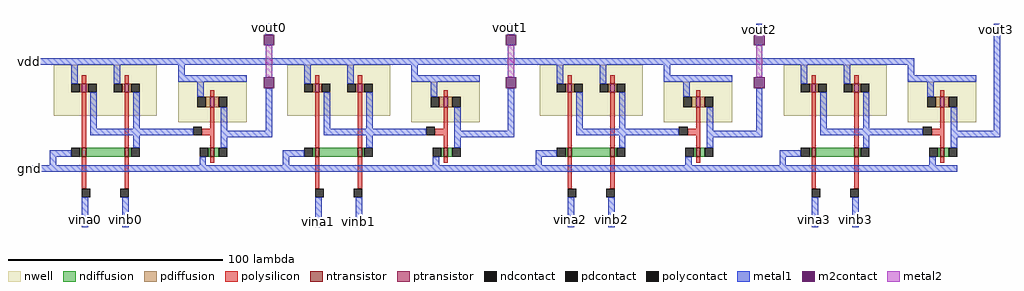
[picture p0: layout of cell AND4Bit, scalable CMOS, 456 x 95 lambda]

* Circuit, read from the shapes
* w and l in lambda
.subckt AND4Bit gnd vdd vina0 vina1 vina2 vina3 vinb0 vinb1 vinb2 vinb3 vout0 vout1 vout2 vout3
M1 n1 vina0 gnd VSUBS nfet w=4 l=2
M2 AND2IN_0/NOT_0/in vinb0 n1 VSUBS nfet w=4 l=2
M3 vout0 AND2IN_0/NOT_0/in gnd VSUBS nfet w=4 l=2
M4 n2 vina1 gnd VSUBS nfet w=4 l=2
M5 AND2IN_1/NOT_0/in vinb1 n2 VSUBS nfet w=4 l=2
M6 vout1 AND2IN_1/NOT_0/in gnd VSUBS nfet w=4 l=2
M7 n3 vina2 gnd VSUBS nfet w=4 l=2
M8 AND2IN_2/NOT_0/in vinb2 n3 VSUBS nfet w=4 l=2
M9 vout2 AND2IN_2/NOT_0/in gnd VSUBS nfet w=4 l=2
M10 n4 vina3 gnd VSUBS nfet w=4 l=2
M11 AND2IN_3/NOT_0/in vinb3 n4 VSUBS nfet w=4 l=2
M12 vout3 AND2IN_3/NOT_0/in gnd VSUBS nfet w=4 l=2
M13 AND2IN_0/NOT_0/in vina0 vdd n5 pfet w=4 l=2
M14 AND2IN_0/NOT_0/in vinb0 vdd n5 pfet w=4 l=2
M15 vout0 AND2IN_0/NOT_0/in vdd n6 pfet w=5 l=2
M16 AND2IN_1/NOT_0/in vina1 vdd n7 pfet w=4 l=2
M17 AND2IN_1/NOT_0/in vinb1 vdd n7 pfet w=4 l=2
M18 vout1 AND2IN_1/NOT_0/in vdd n8 pfet w=5 l=2
M19 AND2IN_2/NOT_0/in vina2 vdd n9 pfet w=4 l=2
M20 AND2IN_2/NOT_0/in vinb2 vdd n9 pfet w=4 l=2
M21 vout2 AND2IN_2/NOT_0/in vdd n10 pfet w=5 l=2
M22 AND2IN_3/NOT_0/in vina3 vdd n11 pfet w=4 l=2
M23 AND2IN_3/NOT_0/in vinb3 vdd n11 pfet w=4 l=2
M24 vout3 AND2IN_3/NOT_0/in vdd n12 pfet w=5 l=2
.ends

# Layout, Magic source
magic
tech scmos
<< metal1 >>
rect 101 84 104 89
rect 214 84 217 89
rect 330 84 333 89
rect -12 70 53 73
rect 59 70 114 73
rect 168 70 233 73
rect 287 70 352 73
rect 101 39 104 59
rect 214 39 217 59
rect 330 39 333 59
rect 441 39 444 89
rect 91 36 104 39
rect 204 36 217 39
rect 320 36 333 39
rect 436 36 444 39
rect -12 20 53 23
rect 75 20 140 23
rect 188 20 253 23
rect 301 20 366 23
rect 15 -6 18 2
rect 34 -6 37 2
rect 124 -6 127 2
rect 143 -6 146 2
rect 242 -6 245 2
rect 261 -6 264 2
rect 356 -6 359 2
rect 375 -6 378 2
<< m2contact >>
rect 100 79 105 84
rect 213 79 218 84
rect 329 79 334 84
rect 100 59 105 64
rect 213 59 218 64
rect 329 59 334 64
<< metal2 >>
rect 101 64 104 79
rect 214 64 217 79
rect 330 64 333 79
use AND2IN  AND2IN_3
transform 1 0 343 0 1 15
box -2 -15 94 58
use AND2IN  AND2IN_2
transform 1 0 229 0 1 15
box -2 -15 94 58
use AND2IN  AND2IN_1
transform 1 0 111 0 1 15
box -2 -15 94 58
use AND2IN  AND2IN_0
transform 1 0 2 0 1 15
box -2 -15 94 58
<< labels >>
rlabel metal1 16 -3 17 -2 1 vina0
rlabel metal1 35 -3 36 -2 1 vinb0
rlabel metal1 -10 21 -9 22 3 gnd
rlabel metal1 -10 71 -9 72 3 vdd
rlabel metal1 125 -4 126 -3 1 vina1
rlabel metal1 144 -4 145 -3 1 vinb1
rlabel metal1 243 -3 244 -2 1 vina2
rlabel metal1 262 -3 263 -2 1 vinb2
rlabel metal1 357 -3 358 -2 1 vina3
rlabel metal1 376 -3 377 -2 1 vinb3
rlabel metal1 102 87 103 88 5 vout0
rlabel metal1 215 87 216 88 5 vout1
rlabel metal1 331 86 332 87 5 vout2
rlabel metal1 442 86 443 87 6 vout3
<< end >>

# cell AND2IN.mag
magic
tech scmos
<< metal1 >>
rect 44 55 61 58
rect 58 47 61 55
rect 46 22 63 25
rect 84 21 94 24
rect -2 12 5 15
rect -2 8 1 12
rect -2 5 68 8
rect 13 -15 16 -11
rect 32 -15 35 -11
use NAND2IN  NAND2IN_0
transform 1 0 16 0 1 35
box -16 -46 32 23
use NOT  NOT_0
transform 1 0 65 0 1 31
box -7 -26 25 19
<< labels >>
rlabel metal1 -1 13 0 14 3 gnd
rlabel metal1 59 52 60 53 1 vdd
rlabel metal1 92 22 93 23 7 vout
rlabel metal1 14 -14 15 -13 1 vin1
rlabel metal1 33 -14 34 -13 1 vin2
<< end >>

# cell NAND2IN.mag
magic
tech scmos
<< nwell >>
rect -16 -4 32 20
<< ntransistor >>
rect -3 -23 -1 -19
rect 17 -23 19 -19
<< ptransistor >>
rect -3 7 -1 11
rect 17 7 19 11
<< ndiffusion >>
rect -4 -23 -3 -19
rect -1 -23 17 -19
rect 19 -23 20 -19
<< pdiffusion >>
rect -4 7 -3 11
rect -1 7 0 11
rect 16 7 17 11
rect 19 7 20 11
<< ndcontact >>
rect -8 -23 -4 -19
rect 20 -23 24 -19
<< pdcontact >>
rect -8 7 -4 11
rect 0 7 4 11
rect 12 7 16 11
rect 20 7 24 11
<< polysilicon >>
rect -3 11 -1 15
rect 17 11 19 15
rect -3 -19 -1 7
rect 17 -19 19 7
rect -3 -38 -1 -23
rect 17 -38 19 -23
<< polycontact >>
rect -3 -42 1 -38
rect 15 -42 19 -38
<< metal1 >>
rect -16 20 32 23
rect -8 11 -5 20
rect 12 11 15 20
rect 1 -10 4 7
rect 21 -10 24 7
rect 1 -13 32 -10
rect 21 -19 24 -13
rect -13 -23 -8 -20
rect -3 -46 0 -42
rect 16 -46 19 -42
<< labels >>
rlabel metal1 7 21 8 22 5 vdd
rlabel metal1 28 -12 29 -11 7 vout
rlabel metal1 -12 -22 -11 -21 3 gnd
rlabel metal1 -2 -44 -1 -43 1 vin1
rlabel metal1 17 -44 18 -43 1 vin2
<< end >>

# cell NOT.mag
magic
tech scmos
<< nwell >>
rect -7 -3 25 16
<< ntransistor >>
rect 8 -19 10 -15
<< ptransistor >>
rect 8 4 10 9
<< ndiffusion >>
rect 7 -19 8 -15
rect 10 -19 12 -15
<< pdiffusion >>
rect 6 4 8 9
rect 10 4 12 9
<< ndcontact >>
rect 3 -19 7 -15
rect 12 -19 16 -15
<< pdcontact >>
rect 2 4 6 9
rect 12 4 16 9
<< polysilicon >>
rect 8 9 10 12
rect 8 -6 10 4
rect 4 -9 10 -6
rect 8 -15 10 -9
rect 8 -22 10 -19
<< polycontact >>
rect 0 -9 4 -5
<< metal1 >>
rect -7 16 25 19
rect 2 9 5 16
rect -3 -9 0 -6
rect 13 -7 16 4
rect 13 -10 20 -7
rect 13 -15 16 -10
rect 3 -23 6 -19
rect 2 -26 16 -23
<< labels >>
rlabel metal1 6 17 9 18 5 vdd
rlabel metal1 -3 -8 -2 -7 3 in
rlabel metal1 18 -9 19 -8 1 out
rlabel metal1 9 -25 10 -24 1 gnd
<< end >>
